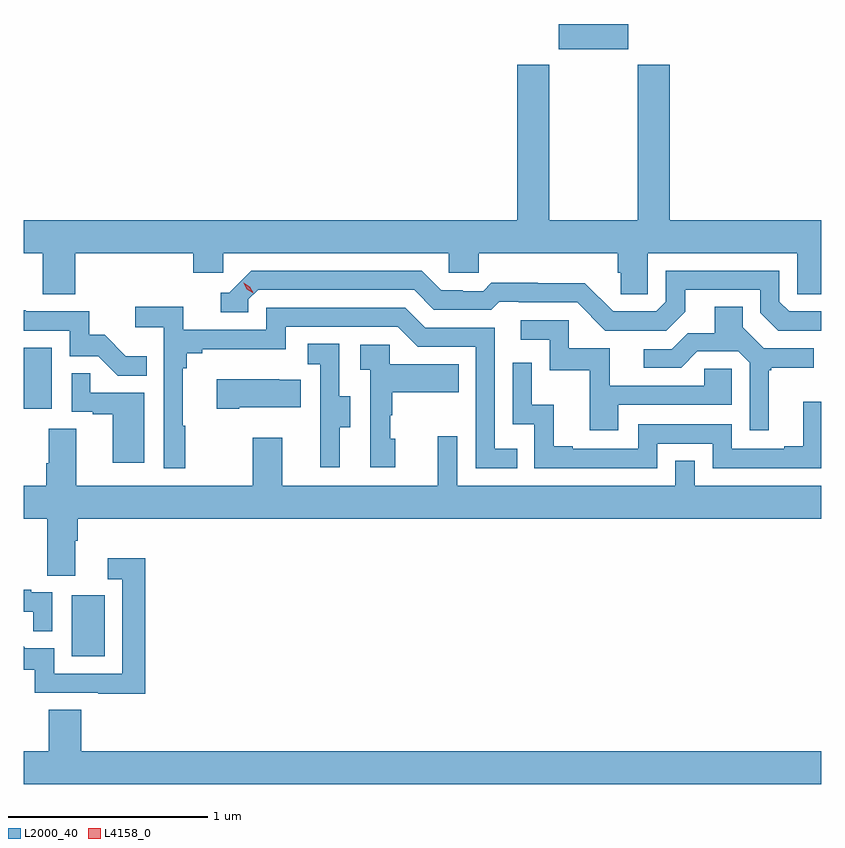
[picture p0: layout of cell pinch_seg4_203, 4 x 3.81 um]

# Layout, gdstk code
import gdstk
lib = gdstk.Library(unit=1e-6, precision=1e-09)
def R(c, l, rs):  # rectangles x0, y0, x1, y1
    for r in rs: c.add(gdstk.rectangle(r[:2], r[2:], *l))
def P(c, l, *ps):  # polygons
    for p in ps: c.add(gdstk.Polygon(p, *l))
L2000_40 = (2000, 40)
L4158_0 = (4158, 0)

pinch_seg4_203 = lib.new_cell('pinch_seg4_203')
R(pinch_seg4_203, L2000_40, [(975.218,821.436,975.382,821.743), (974.977,822.678,975.118,822.985), (977.66,824.483,978.01,824.609)])
P(pinch_seg4_203, L2000_40, [(975.236,823.46),(975.827,823.46),(975.827,823.362),(975.978,823.362),(975.978,823.46),(977.109,823.46),(977.109,823.362),(977.259,823.362),(977.259,823.46),(977.957,823.46),(977.957,823.362),(977.971,823.362),(977.971,823.252),(978.108,823.252),(978.108,823.46),(978.858,823.46),(978.858,823.252),(978.977,823.252),(978.977,823.624),(978.218,823.624),(978.218,824.404),(978.058,824.404),(978.058,823.624),(977.613,823.624),(977.613,824.404),(977.453,824.404),(977.453,823.624),(974.977,823.624),(974.977,823.46),(975.071,823.46),(975.071,823.252),(975.236,823.252)],
  [(978.295,823.165),(978.295,823.275),(978.672,823.275),(978.672,823.161),(978.762,823.071),(978.977,823.071),(978.977,823.167),(978.816,823.167),(978.768,823.215),(978.768,823.371),(978.198,823.371),(978.198,823.215),(978.15,823.167),(977.934,823.167),(977.792,823.309),(977.556,823.309),(977.556,823.312),(977.323,823.312),(977.281,823.269),(977.178,823.269),(977.178,823.272),(977.071,823.272),(976.972,823.371),(976.119,823.371),(976.008,823.26),(975.965,823.26),(975.965,823.164),(976.104,823.164),(976.104,823.227),(976.152,823.275),(976.935,823.275),(977.034,823.176),(977.323,823.176),(977.362,823.215),(977.461,823.215),(977.461,823.212),(977.754,823.212),(977.895,823.071),(978.201,823.071)],
  [(975.787,822.593),(975.775,822.593),(975.775,822.881),(975.794,822.881),(975.794,822.958),(975.871,822.958),(975.871,822.977),(976.29,822.977),(976.29,823.089),(976.854,823.089),(976.953,822.99),(977.244,822.99),(977.244,822.381),(977.453,822.381),(977.453,822.477),(977.34,822.477),(977.34,823.086),(976.99,823.086),(976.891,823.185),(976.194,823.185),(976.194,823.074),(975.776,823.074),(975.776,823.19),(975.537,823.19),(975.537,823.088),(975.678,823.088),(975.678,822.381),(975.787,822.381)],
  [(978.715,822.873),(978.727,822.873),(978.727,822.884),(978.94,822.884),(978.94,822.981),(978.69,822.981),(978.583,823.088),(978.583,823.19),(978.443,823.19),(978.443,823.058),(978.308,823.058),(978.228,822.978),(978.087,822.978),(978.087,822.885),(978.274,822.885),(978.355,822.966),(978.561,822.966),(978.618,822.909),(978.618,822.57),(978.715,822.57)],
  [(975.593,822.943),(975.489,822.943),(975.382,823.05),(975.306,823.05),(975.306,823.167),(974.987,823.167),(974.987,823.172),(974.977,823.172),(974.977,823.071),(975.207,823.071),(975.207,822.942),(975.351,822.942),(975.449,822.844),(975.593,822.844)],
  [(977.959,822.699),(978.528,822.699),(978.528,822.879),(978.391,822.879),(978.391,822.795),(977.917,822.795),(977.917,822.981),(977.712,822.981),(977.712,823.122),(977.469,823.122),(977.469,823.026),(977.616,823.026),(977.616,822.873),(977.815,822.873),(977.815,822.57),(977.959,822.57)],
  [(976.561,822.586),(976.615,822.586),(976.615,822.741),(976.56,822.741),(976.56,823.004),(976.401,823.004),(976.401,822.901),(976.464,822.901),(976.464,822.597),(976.463,822.597),(976.463,822.384),(976.561,822.384)],
  [(976.84,822.528),(976.815,822.528),(976.815,822.647),(976.825,822.647),(976.825,822.761),(977.159,822.761),(977.159,822.901),(976.812,822.901),(976.812,822.999),(976.665,822.999),(976.665,822.875),(976.716,822.875),(976.716,822.384),(976.84,822.384)],
  [(978.156,822.504),(978.432,822.504),(978.432,822.381),(978.977,822.381),(978.977,822.715),(978.887,822.715),(978.887,822.49),(978.791,822.49),(978.791,822.477),(978.528,822.477),(978.528,822.6),(978.06,822.6),(978.06,822.477),(977.731,822.477),(977.731,822.49),(977.636,822.49),(977.636,822.698),(977.526,822.698),(977.526,822.91),(977.43,822.91),(977.43,822.6),(977.538,822.6),(977.538,822.381),(978.156,822.381)],
  [(975.58,822.759),(975.311,822.759),(975.311,822.857),(975.216,822.857),(975.216,822.663),(975.323,822.663),(975.323,822.651),(975.422,822.651),(975.422,822.408),(975.58,822.408)],
  [(976.057,822.686),(976.367,822.686),(976.367,822.823),(976.259,822.823),(976.259,822.826),(975.945,822.826),(975.945,822.679),(976.057,822.679)],
  [(975.235,822.016),(975.248,822.016),(975.248,822.128),(978.977,822.128),(978.977,822.292),(978.342,822.292),(978.342,822.419),(978.246,822.419),(978.246,822.292),(977.151,822.292),(977.151,822.541),(977.054,822.541),(977.054,822.292),(976.273,822.292),(976.273,822.532),(976.126,822.532),(976.126,822.292),(975.241,822.292),(975.241,822.578),(975.101,822.578),(975.101,822.404),(975.089,822.404),(975.089,822.292),(974.977,822.292),(974.977,822.128),(975.095,822.128),(975.095,821.842),(975.235,821.842)],
  [(975.587,821.929),(975.399,821.929),(975.399,821.823),(975.471,821.823),(975.471,821.349),(975.129,821.349),(975.129,821.478),(974.985,821.478),(974.977,821.486),(974.977,821.37),(975.031,821.37),(975.031,821.253),(975.349,821.253),(975.349,821.248),(975.587,821.248)],
  [(975.12,821.757),(975.014,821.757),(975.014,821.77),(974.977,821.77),(974.977,821.661),(975.025,821.661),(975.025,821.563),(975.12,821.563)],
  [(978.977,820.96),(975.266,820.96),(975.266,821.168),(975.101,821.168),(975.101,820.96),(974.977,820.96),(974.977,820.796),(978.977,820.796)])
P(pinch_seg4_203, L4158_0, [(976.126,823.26),(976.095,823.279),(976.079,823.311),(976.079,823.311),(976.079,823.311),(976.11,823.292),(976.127,823.26),(976.127,823.26)])

lib.write_gds('pinch_seg4_203.gds')
